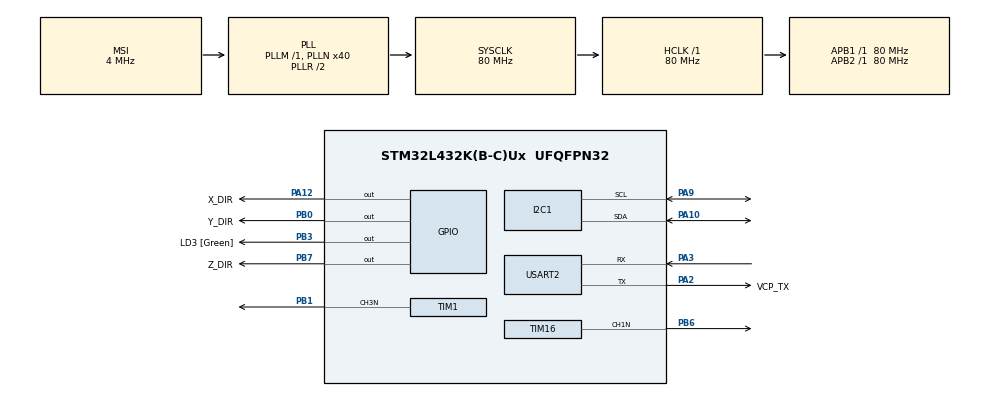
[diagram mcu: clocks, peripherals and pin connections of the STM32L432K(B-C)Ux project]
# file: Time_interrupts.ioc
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I2C1.Timing=0x10909CEC
Mcu.Family=STM32L4
Mcu.Name=STM32L432K(B-C)Ux
Mcu.Package=UFQFPN32
NVIC.PriorityGroup=NVIC_PRIORITYGROUP_4
NVIC.TIM1_BRK_TIM15_IRQn=true\:0\:0\:false\:false\:true\:true\:true\:true
NVIC.TIM1_CC_IRQn=true\:0\:0\:false\:false\:true\:true\:true\:true
NVIC.TIM1_TRG_COM_IRQn=true\:0\:0\:false\:false\:true\:true\:true\:true
NVIC.TIM1_UP_TIM16_IRQn=true\:0\:0\:false\:false\:true\:true\:true\:true
NVIC.TIM6_DAC_IRQn=true\:0\:0\:false\:false\:true\:true\:true\:true
PA0.GPIO_Label=MCO [High speed clock in]
PA0.Mode=HSE-External-Clock-Source-for-LittleOrca
PA0.Signal=RCC_CK_IN
PA10.Mode=I2C
PA10.Signal=I2C1_SDA
PA12.GPIO_Label=X_DIR
PA12.Signal=GPIO_Output
PA13\ (JTMS-SWDIO).GPIO_Label=SWDIO
PA13\ (JTMS-SWDIO).Mode=Serial_Wire
PA13\ (JTMS-SWDIO).Signal=SYS_JTMS-SWDIO
PA14\ (JTCK-SWCLK).GPIO_Label=SWCLK
PA14\ (JTCK-SWCLK).Mode=Serial_Wire
PA14\ (JTCK-SWCLK).Signal=SYS_JTCK-SWCLK
PA2.GPIO_Label=VCP_TX
PA2.Mode=Asynchronous
PA2.Signal=USART2_TX
PA3.Mode=Asynchronous
PA3.Signal=USART2_RX
PA9.Mode=I2C
PA9.Signal=I2C1_SCL
PB0.GPIO_Label=Y_DIR
PB0.Signal=GPIO_Output
PB1.Mode=PWM Generation3 CH3N
PB1.Signal=TIM1_CH3N
PB3\ (JTDO-TRACESWO).GPIO_Label=LD3 [Green]
PB3\ (JTDO-TRACESWO).Signal=GPIO_Output
PB6.Mode=PWM Generation1 CH1N
PB6.Signal=TIM16_CH1N
PB7.GPIO_Label=Z_DIR
PB7.Signal=GPIO_Output
PC14-OSC32_IN\ (PC14).Mode=LSE-External-Oscillator
PC14-OSC32_IN\ (PC14).Signal=RCC_OSC32_IN
PC15-OSC32_OUT\ (PC15).Mode=LSE-External-Oscillator
PC15-OSC32_OUT\ (PC15).Signal=RCC_OSC32_OUT
ProjectManager.HeapSize=0x200
ProjectManager.StackSize=0x400
ProjectManager.TargetToolchain=STM32CubeIDE
RCC.AHBFreq_Value=80000000
RCC.APB1Freq_Value=80000000
RCC.APB1TimFreq_Value=80000000
RCC.APB2Freq_Value=80000000
RCC.APB2TimFreq_Value=80000000
RCC.CortexFreq_Value=80000000
RCC.HCLKFreq_Value=80000000
RCC.HSE_VALUE=8000000
RCC.HSI16_VALUE=16000000
RCC.HSI48_VALUE=48000000
RCC.HSI_VALUE=16000000
RCC.MSI_VALUE=4000000
RCC.PLLMUL=RCC_PLLMUL_4
RCC.PLLN=40
RCC.SYSCLKFreq_VALUE=80000000
RCC.SYSCLKSource=RCC_SYSCLKSOURCE_PLLCLK
RCC.VCOOutputFreq_Value=160000000
TIM1.AutoReloadPreload=TIM_AUTORELOAD_PRELOAD_ENABLE
TIM1.Channel-PWM\ Generation3\ CH3N=TIM_CHANNEL_3
TIM1.Period=999
TIM1.Prescaler=79
TIM1.Pulse-PWM\ Generation3\ CH3N=0xffff-2
TIM16.AutoReloadPreload=TIM_AUTORELOAD_PRELOAD_ENABLE
TIM16.Channel=TIM_CHANNEL_1
TIM16.Period=999
TIM16.Prescaler=79
TIM16.Pulse=0
TIM6.AutoReloadPreload=TIM_AUTORELOAD_PRELOAD_ENABLE
TIM6.Period=999
TIM6.Prescaler=79
USART2.VirtualMode-Asynchronous=VM_ASYNC
VP_TIM16_VS_ClockSourceINT.Mode=Enable_Timer
VP_TIM1_VS_ClockSourceINT.Mode=Internal
VP_TIM6_VS_ClockSourceINT.Mode=Enable_Timer
board=NUCLEO-L432KC

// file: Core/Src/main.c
/* USER CODE BEGIN Header */
/**
  ******************************************************************************
  * @file           : main.c
  * @brief          : Main program body
  ******************************************************************************
  * @attention
  *
  * Copyright (c) 2024 STMicroelectronics.
  * All rights reserved.
  *
  * This software is licensed under terms that can be found in the LICENSE file
  * in the root directory of this software component.
  * If no LICENSE file comes with this software, it is provided AS-IS.
  *
  ******************************************************************************
  */
/* USER CODE END Header */
#include "main.h"

/* USER CODE BEGIN PD */
#define M_PI			3.14159
#define STEPS_PER_REV	200
#define MICROSTEP_NUM	8
#define	XT_TIM_CLK		80000000
#define XT_TIM_PSC		79
#define LSM303D_ADDR	0x3a
#define L3GD20H_ADDR	0xd6
#define	PULSE_TIM_16	htim16
#define	PULSE_TIM_CH1	TIM_CHANNEL_1
#define	PULSE_TIM_1		htim1
#define	PULSE_TIM_CH3	TIM_CHANNEL_3
#define LSM303D_WHO_AM_I			0x0f
#define LSM303D_CTRL1				0x20
#define LSM303D_CTRL2				0x21
#define LSM303D_CTRL5				0x24
#define CTRL4						0x23
#define LSM303D_OUT_X_A				0x28
#define LSM303D_OUT_Y_A				0x2a
#define LSM303D_OUT_Z_A				0x2c
#define GYRO_OFFSET					-1.1109
#define Kp							14.5
#define Ki							0.0002
#define Kd							18.7
#define setpoint					0

/* USER CODE END PD */

I2C_HandleTypeDef hi2c1;

TIM_HandleTypeDef htim1;
TIM_HandleTypeDef htim6;
TIM_HandleTypeDef htim16;

UART_HandleTypeDef huart2;

/* USER CODE BEGIN PV */
float y_tilt=0;
float acc_tilt_total = 0;
int iteration_num=0;
float average_y_tilt=0;
float tilt_integral=0;
float last_tilt=0;
float actual_tilt=0;
long int actual_time=0;
long int last_time=0;
float speed=0;
/* USER CODE END PV */

void SystemClock_Config(void);
static void MX_GPIO_Init(void);
static void MX_TIM1_Init(void);
static void MX_TIM16_Init(void);
static void MX_I2C1_Init(void);
static void MX_USART2_UART_Init(void);
static void MX_TIM6_Init(void);

/* USER CODE BEGIN 0 */

//Sending data by UART on PC
int __io_putchar(int ch)
{
    HAL_UART_Transmit(&huart2, (uint8_t*)&ch, 1, HAL_MAX_DELAY);
    return 1;
}

//Setting speed of left motor
void set_stepper_L_motor_speed(float rpm){
	if(rpm > 0)
		{
		//Changing timer No.16 timing
			uint16_t arr_val = (uint16_t)(XT_TIM_CLK / (((XT_TIM_PSC+1) * rpm * STEPS_PER_REV * MICROSTEP_NUM) / 60) - 1);
			__HAL_TIM_SET_AUTORELOAD(&PULSE_TIM_16, arr_val);
			__HAL_TIM_SET_COMPARE(&PULSE_TIM_16, PULSE_TIM_CH1, arr_val-1);
		}
		else
		{
			//If speed 0 set timing to 0
			__HAL_TIM_SET_COMPARE(&PULSE_TIM_16, PULSE_TIM_CH1, 0);
		}
}

//Setting speed of right motor
void set_stepper_R_motor_speed(float rpm){
	if(rpm > 0)
		{
		//Changing timer No.1 timing
			uint16_t arr_val = (uint16_t)(XT_TIM_CLK / (((XT_TIM_PSC+1) * rpm * STEPS_PER_REV * MICROSTEP_NUM) / 60) - 1);
			__HAL_TIM_SET_AUTORELOAD(&PULSE_TIM_1, arr_val);
			__HAL_TIM_SET_COMPARE(&PULSE_TIM_1, PULSE_TIM_CH3, arr_val-1);
		}
		else
		{
			//If speed 0 set timing to 0
			__HAL_TIM_SET_COMPARE(&PULSE_TIM_1, PULSE_TIM_CH3, 0);
		}
}

//Reading value from chosen register
uint8_t lsm_read_reg(uint8_t reg, uint8_t dev)
{
	uint8_t value = 0;

	HAL_I2C_Mem_Read(&hi2c1, dev, reg, 1, &value, sizeof(value), HAL_MAX_DELAY);

	return value;
}

//Writing value to register

void lsm_write_reg(uint8_t reg, uint8_t value, uint8_t dev)
{
	HAL_I2C_Mem_Write(&hi2c1, dev, reg, 1, &value, sizeof(value), HAL_MAX_DELAY);
}

int16_t lsm_read_value(uint8_t reg, uint8_t dev)
{
	int16_t value = 0;

	HAL_I2C_Mem_Read(&hi2c1, dev, reg | 0x80, 1, (uint8_t*)&value, sizeof(value), HAL_MAX_DELAY);

	return value;
}

//Init work of accelerometer
int LSM303D_init(){
	printf("Wyszukiwanie akcelerometru...\r\n");
	uint8_t who_am_i = lsm_read_reg(0xf,LSM303D_ADDR);
	if (who_am_i == 0x49) {
		printf("Znaleziono akcelerometr LSM303D\r\n");
		return 1;
	 }
	else{
		printf("Niepoprawna odpowiedź układu (0x%02X)\r\n", who_am_i);
		return 0;
	 }
}

//Init work of gyroscope
int L3GD20H_init(){
	printf("Wyszukiwanie zyroskopu...\r\n");
	uint8_t who_am_i = lsm_read_reg(0xf,L3GD20H_ADDR);
	if (who_am_i == 0xD7) {
		printf("Znaleziono zyroskop L3GD20H\r\n");
		return 1;
	 }
	else{
		printf("Niepoprawna odpowiedź układu (0x%02X)\r\n", who_am_i);
		return 0;
	 }
}

//Function to checking if all sensor started successfully
int sensors_run_correctly(){
	int LSM303D_status = LSM303D_init();
	int L3GD20H_status = L3GD20H_init();
	if(LSM303D_status && L3GD20H_status) return 1;
	else return 0;
}

//Init time interrupts if  sensors started working
void activate_app(){
	if(sensors_run_correctly()){
		lsm_write_reg(LSM303D_CTRL1, 0x40|0x07, LSM303D_ADDR);
		lsm_write_reg(LSM303D_CTRL1, 0xCF, L3GD20H_ADDR);
		lsm_write_reg(CTRL4, 0x10, L3GD20H_ADDR);
		printf("Start aplikacji...\r\n");
		HAL_TIM_Base_Start_IT(&htim6);
	}
	else printf("Brak poloaczenia z sensorami...\r\n");
}

//Reading values from register of accelerometer
float calc_acc_tilt(){
	int16_t a_x = lsm_read_value(LSM303D_OUT_X_A, LSM303D_ADDR);
 	int16_t a_z = lsm_read_value(LSM303D_OUT_Z_A, LSM303D_ADDR);
 	float tilt_a_x = a_x * 2.0f / 32678.0f;
 	float tilt_a_z = a_z * 2.0f / 32678.0f;
 	float alpha = atan2f(tilt_a_z, tilt_a_x);
 	return (alpha * 180.0f / M_PI - 90.0f);
}

//Implementation of Kalman filter
struct Kalman{
	float Q_angle;
	float Q_bias;
	float R_measure;
	float angle;
	float bias;
	float rate;
	float P[2][2];
};

//Init Kalman filter
void init_Kalman(struct Kalman* kalman){
	kalman -> P[0][0] = 0.0f;
	kalman -> P[0][1] = 0.0f;
	kalman -> P[1][0] = 0.0f;
	kalman -> P[1][1] = 0.0f;

	kalman -> Q_angle = 0.0009f;
	kalman -> Q_bias = 0.1f;
	kalman -> R_measure = 3.0f;

	kalman -> angle = 0.0f;
	kalman -> bias = 9.0f;
}

//Function to estimate tilt of robot by Kalman filter
float getAngle(struct Kalman *kalman ,float newAngle, float newRate, float dt){
	kalman -> rate = newRate  - kalman -> bias;
	kalman -> angle += kalman -> rate * dt;

	kalman -> P[0][0] += dt * (dt*kalman -> P[1][1] - kalman -> P[0][1] - kalman -> P[1][0] + kalman -> Q_angle);
	kalman -> P[0][1] -= dt * kalman -> P[1][1];
	kalman -> P[1][0] -= dt * kalman -> P[1][1];
	kalman -> P[1][1] += dt * kalman -> Q_bias;

	float S = kalman -> P[0][0] + kalman -> R_measure;
	float K[2];
	K[0] = kalman -> P[0][0] / S;
	K[1] = kalman -> P[1][0] / S;

	float y = newAngle - kalman -> angle;
	kalman -> angle += K[0] * y;
	kalman -> bias += K[1] * y;

	float P00_temp = kalman -> P[0][0];
	float P01_temp = kalman -> P[0][1];

	kalman -> P[0][0] -= K[0] * P00_temp;
	kalman -> P[0][1] -= K[0] * P01_temp;
	kalman -> P[1][0] -= K[1] * P00_temp;
	kalman -> P[1][1] -= K[1] * P01_temp;

	return kalman->angle;
}

//Saving actual angle to struct
void setAngle(struct Kalman *kalman, float angle){
	kalman -> angle = angle;
}

//Init new Kalman variable
struct Kalman kalman;
/* USER CODE END 0 */

int main(void)
{

  /* MCU Configuration--------------------------------------------------------*/

  /* Reset of all peripherals, Initializes the Flash interface and the Systick. */
  HAL_Init();

  /* Configure the system clock */
  SystemClock_Config();

  /* Initialize all configured peripherals */
  MX_GPIO_Init();
  MX_TIM1_Init();
  MX_TIM16_Init();
  MX_I2C1_Init();
  MX_USART2_UART_Init();
  MX_TIM6_Init();
  /* USER CODE BEGIN 2 */
  //Initialization of PWM generators for both stepper motors
  HAL_TIM_Base_Start(&htim16);
  HAL_TIM_PWM_Start(&htim16, TIM_CHANNEL_1);
  TIM_CCxChannelCmd(htim16.Instance, TIM_CHANNEL_1, TIM_CCxN_ENABLE);
  HAL_TIM_Base_Start(&htim1);
  HAL_TIM_PWM_Start(&htim1, TIM_CHANNEL_3);
  TIM_CCxChannelCmd(htim1.Instance, TIM_CHANNEL_3, TIM_CCxN_ENABLE);
  //activation of app
  activate_app();
  float acc_tilt = calc_acc_tilt();
  init_Kalman(&kalman);
  setAngle(&kalman, acc_tilt);
  /* USER CODE END 2 */

  /* Infinite loop */
  while (1)
  {

  }
}

void SystemClock_Config(void)
{
  RCC_OscInitTypeDef RCC_OscInitStruct = {0};
  RCC_ClkInitTypeDef RCC_ClkInitStruct = {0};

  /** Configure the main internal regulator output voltage
  */
  if (HAL_PWREx_ControlVoltageScaling(PWR_REGULATOR_VOLTAGE_SCALE1) != HAL_OK)
  {
    Error_Handler();
  }

  /** Configure LSE Drive Capability
  */
  HAL_PWR_EnableBkUpAccess();
  __HAL_RCC_LSEDRIVE_CONFIG(RCC_LSEDRIVE_LOW);

  /** Initializes the RCC Oscillators according to the specified parameters
  * in the RCC_OscInitTypeDef structure.
  */
  RCC_OscInitStruct.OscillatorType = RCC_OSCILLATORTYPE_LSE|RCC_OSCILLATORTYPE_MSI;
  RCC_OscInitStruct.LSEState = RCC_LSE_ON;
  RCC_OscInitStruct.MSIState = RCC_MSI_ON;
  RCC_OscInitStruct.MSICalibrationValue = 0;
  RCC_OscInitStruct.MSIClockRange = RCC_MSIRANGE_6;
  RCC_OscInitStruct.PLL.PLLState = RCC_PLL_ON;
  RCC_OscInitStruct.PLL.PLLSource = RCC_PLLSOURCE_MSI;
  RCC_OscInitStruct.PLL.PLLM = 1;
  RCC_OscInitStruct.PLL.PLLN = 40;
  RCC_OscInitStruct.PLL.PLLP = RCC_PLLP_DIV7;
  RCC_OscInitStruct.PLL.PLLQ = RCC_PLLQ_DIV2;
  RCC_OscInitStruct.PLL.PLLR = RCC_PLLR_DIV2;
  if (HAL_RCC_OscConfig(&RCC_OscInitStruct) != HAL_OK)
  {
    Error_Handler();
  }

  /** Initializes the CPU, AHB and APB buses clocks
  */
  RCC_ClkInitStruct.ClockType = RCC_CLOCKTYPE_HCLK|RCC_CLOCKTYPE_SYSCLK
                              |RCC_CLOCKTYPE_PCLK1|RCC_CLOCKTYPE_PCLK2;
  RCC_ClkInitStruct.SYSCLKSource = RCC_SYSCLKSOURCE_PLLCLK;
  RCC_ClkInitStruct.AHBCLKDivider = RCC_SYSCLK_DIV1;
  RCC_ClkInitStruct.APB1CLKDivider = RCC_HCLK_DIV1;
  RCC_ClkInitStruct.APB2CLKDivider = RCC_HCLK_DIV1;

  if (HAL_RCC_ClockConfig(&RCC_ClkInitStruct, FLASH_LATENCY_4) != HAL_OK)
  {
    Error_Handler();
  }

  /** Enable MSI Auto calibration
  */
  HAL_RCCEx_EnableMSIPLLMode();
}

static void MX_I2C1_Init(void)
{

  hi2c1.Instance = I2C1;
  hi2c1.Init.Timing = 0x10909CEC;
  hi2c1.Init.OwnAddress1 = 0;
  hi2c1.Init.AddressingMode = I2C_ADDRESSINGMODE_7BIT;
  hi2c1.Init.DualAddressMode = I2C_DUALADDRESS_DISABLE;
  hi2c1.Init.OwnAddress2 = 0;
  hi2c1.Init.OwnAddress2Masks = I2C_OA2_NOMASK;
  hi2c1.Init.GeneralCallMode = I2C_GENERALCALL_DISABLE;
  hi2c1.Init.NoStretchMode = I2C_NOSTRETCH_DISABLE;
  if (HAL_I2C_Init(&hi2c1) != HAL_OK)
  {
    Error_Handler();
  }

  /** Configure Analogue filter
  */
  if (HAL_I2CEx_ConfigAnalogFilter(&hi2c1, I2C_ANALOGFILTER_ENABLE) != HAL_OK)
  {
    Error_Handler();
  }

  /** Configure Digital filter
  */
  if (HAL_I2CEx_ConfigDigitalFilter(&hi2c1, 0) != HAL_OK)
  {
    Error_Handler();
  }

}

static void MX_TIM1_Init(void)
{

  TIM_ClockConfigTypeDef sClockSourceConfig = {0};
  TIM_MasterConfigTypeDef sMasterConfig = {0};
  TIM_OC_InitTypeDef sConfigOC = {0};
  TIM_BreakDeadTimeConfigTypeDef sBreakDeadTimeConfig = {0};

  htim1.Instance = TIM1;
  htim1.Init.Prescaler = 79;
  htim1.Init.CounterMode = TIM_COUNTERMODE_UP;
  htim1.Init.Period = 999;
  htim1.Init.ClockDivision = TIM_CLOCKDIVISION_DIV1;
  htim1.Init.RepetitionCounter = 0;
  htim1.Init.AutoReloadPreload = TIM_AUTORELOAD_PRELOAD_ENABLE;
  if (HAL_TIM_Base_Init(&htim1) != HAL_OK)
  {
    Error_Handler();
  }
  sClockSourceConfig.ClockSource = TIM_CLOCKSOURCE_INTERNAL;
  if (HAL_TIM_ConfigClockSource(&htim1, &sClockSourceConfig) != HAL_OK)
  {
    Error_Handler();
  }
  if (HAL_TIM_PWM_Init(&htim1) != HAL_OK)
  {
    Error_Handler();
  }
  sMasterConfig.MasterOutputTrigger = TIM_TRGO_RESET;
  sMasterConfig.MasterOutputTrigger2 = TIM_TRGO2_RESET;
  sMasterConfig.MasterSlaveMode = TIM_MASTERSLAVEMODE_DISABLE;
  if (HAL_TIMEx_MasterConfigSynchronization(&htim1, &sMasterConfig) != HAL_OK)
  {
    Error_Handler();
  }
  sConfigOC.OCMode = TIM_OCMODE_PWM1;
  sConfigOC.Pulse = 0xffff-2;
  sConfigOC.OCPolarity = TIM_OCPOLARITY_HIGH;
  sConfigOC.OCNPolarity = TIM_OCNPOLARITY_HIGH;
  sConfigOC.OCFastMode = TIM_OCFAST_DISABLE;
  sConfigOC.OCIdleState = TIM_OCIDLESTATE_RESET;
  sConfigOC.OCNIdleState = TIM_OCNIDLESTATE_RESET;
  if (HAL_TIM_PWM_ConfigChannel(&htim1, &sConfigOC, TIM_CHANNEL_3) != HAL_OK)
  {
    Error_Handler();
  }
  sBreakDeadTimeConfig.OffStateRunMode = TIM_OSSR_DISABLE;
  sBreakDeadTimeConfig.OffStateIDLEMode = TIM_OSSI_DISABLE;
  sBreakDeadTimeConfig.LockLevel = TIM_LOCKLEVEL_OFF;
  sBreakDeadTimeConfig.DeadTime = 0;
  sBreakDeadTimeConfig.BreakState = TIM_BREAK_DISABLE;
  sBreakDeadTimeConfig.BreakPolarity = TIM_BREAKPOLARITY_HIGH;
  sBreakDeadTimeConfig.BreakFilter = 0;
  sBreakDeadTimeConfig.Break2State = TIM_BREAK2_DISABLE;
  sBreakDeadTimeConfig.Break2Polarity = TIM_BREAK2POLARITY_HIGH;
  sBreakDeadTimeConfig.Break2Filter = 0;
  sBreakDeadTimeConfig.AutomaticOutput = TIM_AUTOMATICOUTPUT_DISABLE;
  if (HAL_TIMEx_ConfigBreakDeadTime(&htim1, &sBreakDeadTimeConfig) != HAL_OK)
  {
    Error_Handler();
  }
  HAL_TIM_MspPostInit(&htim1);

}

static void MX_TIM6_Init(void)
{

  TIM_MasterConfigTypeDef sMasterConfig = {0};

  htim6.Instance = TIM6;
  htim6.Init.Prescaler = 79;
  htim6.Init.CounterMode = TIM_COUNTERMODE_UP;
  htim6.Init.Period = 999;
  htim6.Init.AutoReloadPreload = TIM_AUTORELOAD_PRELOAD_ENABLE;
  if (HAL_TIM_Base_Init(&htim6) != HAL_OK)
  {
    Error_Handler();
  }
  sMasterConfig.MasterOutputTrigger = TIM_TRGO_RESET;
  sMasterConfig.MasterSlaveMode = TIM_MASTERSLAVEMODE_DISABLE;
  if (HAL_TIMEx_MasterConfigSynchronization(&htim6, &sMasterConfig) != HAL_OK)
  {
    Error_Handler();
  }

}

static void MX_TIM16_Init(void)
{

  TIM_OC_InitTypeDef sConfigOC = {0};
  TIM_BreakDeadTimeConfigTypeDef sBreakDeadTimeConfig = {0};

  htim16.Instance = TIM16;
  htim16.Init.Prescaler = 79;
  htim16.Init.CounterMode = TIM_COUNTERMODE_UP;
  htim16.Init.Period = 999;
  htim16.Init.ClockDivision = TIM_CLOCKDIVISION_DIV1;
  htim16.Init.RepetitionCounter = 0;
  htim16.Init.AutoReloadPreload = TIM_AUTORELOAD_PRELOAD_ENABLE;
  if (HAL_TIM_Base_Init(&htim16) != HAL_OK)
  {
    Error_Handler();
  }
  if (HAL_TIM_PWM_Init(&htim16) != HAL_OK)
  {
    Error_Handler();
  }
  sConfigOC.OCMode = TIM_OCMODE_PWM1;
  sConfigOC.Pulse = 0;
  sConfigOC.OCPolarity = TIM_OCPOLARITY_HIGH;
  sConfigOC.OCNPolarity = TIM_OCNPOLARITY_HIGH;
  sConfigOC.OCFastMode = TIM_OCFAST_DISABLE;
  sConfigOC.OCIdleState = TIM_OCIDLESTATE_RESET;
  sConfigOC.OCNIdleState = TIM_OCNIDLESTATE_RESET;
  if (HAL_TIM_PWM_ConfigChannel(&htim16, &sConfigOC, TIM_CHANNEL_1) != HAL_OK)
  {
    Error_Handler();
  }
  sBreakDeadTimeConfig.OffStateRunMode = TIM_OSSR_DISABLE;
  sBreakDeadTimeConfig.OffStateIDLEMode = TIM_OSSI_DISABLE;
  sBreakDeadTimeConfig.LockLevel = TIM_LOCKLEVEL_OFF;
  sBreakDeadTimeConfig.DeadTime = 0;
  sBreakDeadTimeConfig.BreakState = TIM_BREAK_DISABLE;
  sBreakDeadTimeConfig.BreakPolarity = TIM_BREAKPOLARITY_HIGH;
  sBreakDeadTimeConfig.AutomaticOutput = TIM_AUTOMATICOUTPUT_DISABLE;
  if (HAL_TIMEx_ConfigBreakDeadTime(&htim16, &sBreakDeadTimeConfig) != HAL_OK)
  {
    Error_Handler();
  }
  HAL_TIM_MspPostInit(&htim16);

}

static void MX_USART2_UART_Init(void)
{

  huart2.Instance = USART2;
  huart2.Init.BaudRate = 115200;
  huart2.Init.WordLength = UART_WORDLENGTH_8B;
  huart2.Init.StopBits = UART_STOPBITS_1;
  huart2.Init.Parity = UART_PARITY_NONE;
  huart2.Init.Mode = UART_MODE_TX_RX;
  huart2.Init.HwFlowCtl = UART_HWCONTROL_NONE;
  huart2.Init.OverSampling = UART_OVERSAMPLING_16;
  huart2.Init.OneBitSampling = UART_ONE_BIT_SAMPLE_DISABLE;
  huart2.AdvancedInit.AdvFeatureInit = UART_ADVFEATURE_NO_INIT;
  if (HAL_UART_Init(&huart2) != HAL_OK)
  {
    Error_Handler();
  }

}

static void MX_GPIO_Init(void)
{
  GPIO_InitTypeDef GPIO_InitStruct = {0};

  /* GPIO Ports Clock Enable */
  __HAL_RCC_GPIOC_CLK_ENABLE();
  __HAL_RCC_GPIOA_CLK_ENABLE();
  __HAL_RCC_GPIOB_CLK_ENABLE();

  /*Configure GPIO pin Output Level */
  HAL_GPIO_WritePin(GPIOB, Y_DIR_Pin|LD3_Pin|Z_DIR_Pin, GPIO_PIN_RESET);

  /*Configure GPIO pin Output Level */
  HAL_GPIO_WritePin(X_DIR_GPIO_Port, X_DIR_Pin, GPIO_PIN_RESET);

  /*Configure GPIO pins : Y_DIR_Pin LD3_Pin Z_DIR_Pin */
  GPIO_InitStruct.Pin = Y_DIR_Pin|LD3_Pin|Z_DIR_Pin;
  GPIO_InitStruct.Mode = GPIO_MODE_OUTPUT_PP;
  GPIO_InitStruct.Pull = GPIO_NOPULL;
  GPIO_InitStruct.Speed = GPIO_SPEED_FREQ_LOW;
  HAL_GPIO_Init(GPIOB, &GPIO_InitStruct);

  /*Configure GPIO pin : X_DIR_Pin */
  GPIO_InitStruct.Pin = X_DIR_Pin;
  GPIO_InitStruct.Mode = GPIO_MODE_OUTPUT_PP;
  GPIO_InitStruct.Pull = GPIO_NOPULL;
  GPIO_InitStruct.Speed = GPIO_SPEED_FREQ_LOW;
  HAL_GPIO_Init(X_DIR_GPIO_Port, &GPIO_InitStruct);

}

/* USER CODE BEGIN 4 */
void HAL_TIM_PeriodElapsedCallback(TIM_HandleTypeDef *htim){
	//Determining pid control every 1ms
 	  if(htim->Instance == TIM6){
 		 //Calculate the slope of robot with accelerometer
 		 float acc_angle = calc_acc_tilt();
 		 //Calculate the slope of robot with gyroscope
 		 int16_t g_y = lsm_read_value(LSM303D_OUT_Y_A, L3GD20H_ADDR);
 		 float omega = g_y*0.0175f;
 		 //Fusion of accelerometer and gyroscope data by Kalman filter
 		 float tilt = getAngle(&kalman, acc_angle, omega, 0.001);
 		 printf("%.2f\r\n",tilt);
 		 //Calculating the integral of the error
 		 if(!isnan(tilt) && fabs(tilt_integral) < 3500) tilt_integral += tilt;
 		 //Calculate speed of stepper motors by PID regulator
 		 speed = (fabs(tilt-setpoint)*Kp) + (fabs(tilt-last_tilt)*Ki) + fabs(tilt_integral * Kd);
 		 //Set speed of motors
 		 set_stepper_L_motor_speed(speed);
 		 set_stepper_R_motor_speed(speed);
 		 //Set direction of motors
 		 if(tilt>0){
 			HAL_GPIO_WritePin(X_DIR_GPIO_Port, X_DIR_Pin, GPIO_PIN_RESET);
 			HAL_GPIO_WritePin(Y_DIR_GPIO_Port, Y_DIR_Pin, GPIO_PIN_SET);
 			 }
 		 else{
 			HAL_GPIO_WritePin(X_DIR_GPIO_Port, X_DIR_Pin, GPIO_PIN_SET);
 		    HAL_GPIO_WritePin(Y_DIR_GPIO_Port, Y_DIR_Pin, GPIO_PIN_RESET);
 		 }
 		 //Saving last tilt to get derivate
 		 last_tilt = tilt;
 	  }
 }

/* USER CODE END 4 */

void Error_Handler(void)
{
  __disable_irq();
  while (1)
  {
  }
}
